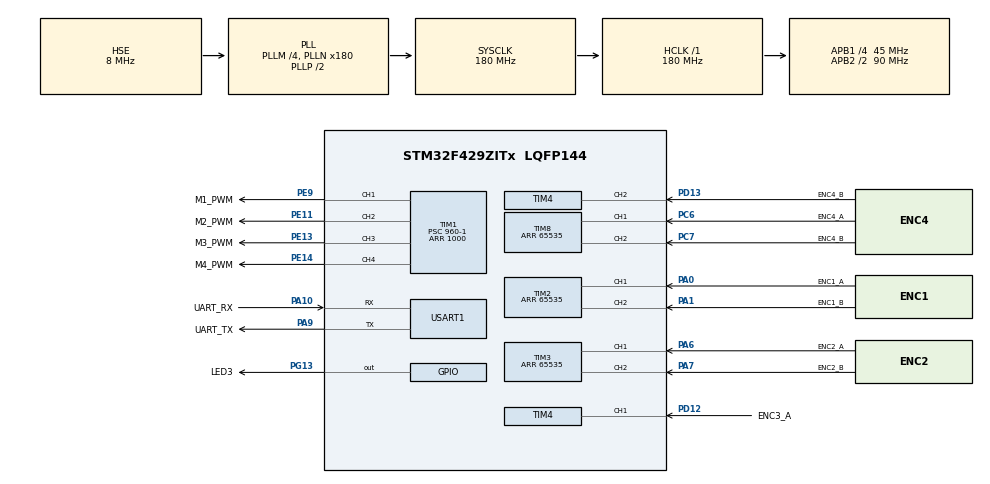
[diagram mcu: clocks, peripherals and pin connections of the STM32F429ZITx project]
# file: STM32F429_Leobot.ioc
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FREERTOS.HEAP_NUMBER=1
FREERTOS.INCLUDE_vTaskDelayUntil=1
FREERTOS.Mutexes01=rosPublishMutex,Dynamic,NULL
FREERTOS.Tasks01=defaultTask,0,128,StartDefaultTask,Default,NULL,Dynamic,NULL,NULL;LedBlinkTask,-3,128,LedBlinkTaskHandler,Default,NULL,Dynamic,NULL,NULL;EncoderTask,0,128,EncoderTaskHandler,Default,NULL,Dynamic,NULL,NULL;RosTask,0,128,RosTaskHandler,Default,NULL,Dynamic,NULL,NULL
FREERTOS.configMAX_PRIORITIES=4
Mcu.Family=STM32F4
Mcu.Name=STM32F429ZITx
Mcu.Package=LQFP144
NVIC.PriorityGroup=NVIC_PRIORITYGROUP_4
NVIC.TIM7_IRQn=true\:0\:0\:false\:false\:true\:false\:false
NVIC.TimeBase=TIM7_IRQn
NVIC.TimeBaseIP=TIM7
NVIC.USART1_IRQn=true\:5\:0\:false\:false\:true\:true\:true
PA0/WKUP.GPIO_Label=ENC1_A
PA0/WKUP.GPIO_PuPd=GPIO_PULLUP
PA0/WKUP.GPIO_Speed=GPIO_SPEED_FREQ_VERY_HIGH
PA0/WKUP.Signal=S_TIM2_CH1_ETR
PA1.GPIO_Label=ENC1_B
PA1.GPIO_PuPd=GPIO_PULLUP
PA1.GPIO_Speed=GPIO_SPEED_FREQ_VERY_HIGH
PA1.Signal=S_TIM2_CH2
PA10.GPIO_Label=UART_RX
PA10.Mode=Asynchronous
PA10.Signal=USART1_RX
PA13.Mode=Trace_Asynchronous_SW
PA13.Signal=SYS_JTMS-SWDIO
PA14.Mode=Trace_Asynchronous_SW
PA14.Signal=SYS_JTCK-SWCLK
PA6.GPIO_Label=ENC2_A
PA6.GPIO_PuPd=GPIO_PULLUP
PA6.GPIO_Speed=GPIO_SPEED_FREQ_VERY_HIGH
PA6.Signal=S_TIM3_CH1
PA7.GPIO_Label=ENC2_B
PA7.GPIO_PuPd=GPIO_PULLUP
PA7.GPIO_Speed=GPIO_SPEED_FREQ_VERY_HIGH
PA7.Signal=S_TIM3_CH2
PA9.GPIO_Label=UART_TX
PA9.Mode=Asynchronous
PA9.Signal=USART1_TX
PB3.Mode=Trace_Asynchronous_SW
PB3.Signal=SYS_JTDO-SWO
PC6.GPIO_Label=ENC4_A
PC6.GPIO_PuPd=GPIO_PULLUP
PC6.GPIO_Speed=GPIO_SPEED_FREQ_VERY_HIGH
PC6.Signal=S_TIM8_CH1
PC7.GPIO_Label=ENC4_B
PC7.GPIO_PuPd=GPIO_PULLUP
PC7.GPIO_Speed=GPIO_SPEED_FREQ_VERY_HIGH
PC7.Signal=S_TIM8_CH2
PD12.GPIO_Label=ENC3_A
PD12.GPIO_Speed=GPIO_SPEED_FREQ_VERY_HIGH
PD12.Signal=S_TIM4_CH1
PD13.GPIO_Label=ENC4_B
PD13.GPIO_Speed=GPIO_SPEED_FREQ_VERY_HIGH
PD13.Signal=S_TIM4_CH2
PE11.GPIO_Label=M2_PWM
PE11.GPIO_Speed=GPIO_SPEED_FREQ_VERY_HIGH
PE11.Signal=S_TIM1_CH2
PE13.GPIO_Label=M3_PWM
PE13.GPIO_Speed=GPIO_SPEED_FREQ_VERY_HIGH
PE13.Signal=S_TIM1_CH3
PE14.GPIO_Label=M4_PWM
PE14.GPIO_Speed=GPIO_SPEED_FREQ_VERY_HIGH
PE14.Signal=S_TIM1_CH4
PE9.GPIO_Label=M1_PWM
PE9.GPIO_Speed=GPIO_SPEED_FREQ_VERY_HIGH
PE9.Signal=S_TIM1_CH1
PG13.GPIO_Label=LED3
PG13.GPIO_Speed=GPIO_SPEED_FREQ_VERY_HIGH
PG13.Signal=GPIO_Output
PH0/OSC_IN.Mode=HSE-External-Oscillator
PH0/OSC_IN.Signal=RCC_OSC_IN
PH1/OSC_OUT.Mode=HSE-External-Oscillator
PH1/OSC_OUT.Signal=RCC_OSC_OUT
ProjectManager.HeapSize=0x200
ProjectManager.StackSize=0x400
ProjectManager.TargetToolchain=TrueSTUDIO
RCC.48MHZClocksFreq_Value=90000000
RCC.AHBFreq_Value=180000000
RCC.APB1CLKDivider=RCC_HCLK_DIV4
RCC.APB1Freq_Value=45000000
RCC.APB1TimFreq_Value=90000000
RCC.APB2CLKDivider=RCC_HCLK_DIV2
RCC.APB2Freq_Value=90000000
RCC.APB2TimFreq_Value=180000000
RCC.CortexFreq_Value=180000000
RCC.HCLKFreq_Value=180000000
RCC.HSE_VALUE=8000000
RCC.HSI_VALUE=16000000
RCC.LSE_VALUE=32768
RCC.PLLM=4
RCC.PLLN=180
RCC.PLLSourceVirtual=RCC_PLLSOURCE_HSE
RCC.SYSCLKFreq_VALUE=180000000
RCC.SYSCLKSource=RCC_SYSCLKSOURCE_PLLCLK
RCC.VCOOutputFreq_Value=360000000
SH.S_TIM1_CH1.0=TIM1_CH1,PWM Generation1 CH1
SH.S_TIM1_CH2.0=TIM1_CH2,PWM Generation2 CH2
SH.S_TIM1_CH3.0=TIM1_CH3,PWM Generation3 CH3
SH.S_TIM1_CH4.0=TIM1_CH4,PWM Generation4 CH4
SH.S_TIM2_CH1_ETR.0=TIM2_CH1,Encoder_Interface
SH.S_TIM2_CH2.0=TIM2_CH2,Encoder_Interface
SH.S_TIM3_CH1.0=TIM3_CH1,Encoder_Interface
SH.S_TIM3_CH2.0=TIM3_CH2,Encoder_Interface
SH.S_TIM4_CH1.0=TIM4_CH1,Encoder_Interface
SH.S_TIM4_CH2.0=TIM4_CH2,Encoder_Interface
SH.S_TIM8_CH1.0=TIM8_CH1,Encoder_Interface
SH.S_TIM8_CH2.0=TIM8_CH2,Encoder_Interface
TIM1.Channel-PWM\ Generation1\ CH1=TIM_CHANNEL_1
TIM1.Channel-PWM\ Generation2\ CH2=TIM_CHANNEL_2
TIM1.Channel-PWM\ Generation3\ CH3=TIM_CHANNEL_3
TIM1.Channel-PWM\ Generation4\ CH4=TIM_CHANNEL_4
TIM1.Period=1000
TIM1.Prescaler=960-1
TIM2.EncoderMode=TIM_ENCODERMODE_TI12
TIM2.Period=65535
TIM3.EncoderMode=TIM_ENCODERMODE_TI12
TIM3.Period=65535
TIM4.EncoderMode=TIM_ENCODERMODE_TI12
TIM4.Period=65535
TIM8.EncoderMode=TIM_ENCODERMODE_TI12
TIM8.Period=65535
USART1.VirtualMode=VM_ASYNC
VP_FREERTOS_VS_ENABLE.Mode=Enabled
VP_SYS_VS_tim7.Mode=TIM7
board=custom

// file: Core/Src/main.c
/* USER CODE BEGIN Header */
/**
  ******************************************************************************
  * @file           : main.c
  * @brief          : Main program body
  ******************************************************************************
  * This notice applies to any and all portions of this file
  * that are not between comment pairs USER CODE BEGIN and
  * USER CODE END. Other portions of this file, whether
  * inserted by the user or by software development tools
  * are owned by their respective copyright owners.
  *
  * Copyright (c) 2018 STMicroelectronics International N.V.
  * All rights reserved.
  *
  * Redistribution and use in source and binary forms, with or without
  * modification, are permitted, provided that the following conditions are met:
  *
  * 1. Redistribution of source code must retain the above copyright notice,
  *    this list of conditions and the following disclaimer.
  * 2. Redistributions in binary form must reproduce the above copyright notice,
  *    this list of conditions and the following disclaimer in the documentation
  *    and/or other materials provided with the distribution.
  * 3. Neither the name of STMicroelectronics nor the names of other
  *    contributors to this software may be used to endorse or promote products
  *    derived from this software without specific written permission.
  * 4. This software, including modifications and/or derivative works of this
  *    software, must execute solely and exclusively on microcontroller or
  *    microprocessor devices manufactured by or for STMicroelectronics.
  * 5. Redistribution and use of this software other than as permitted under
  *    this license is void and will automatically terminate your rights under
  *    this license.
  *
  * THIS SOFTWARE IS PROVIDED BY STMICROELECTRONICS AND CONTRIBUTORS "AS IS"
  * AND ANY EXPRESS, IMPLIED OR STATUTORY WARRANTIES, INCLUDING, BUT NOT
  * LIMITED TO, THE IMPLIED WARRANTIES OF MERCHANTABILITY, FITNESS FOR A
  * PARTICULAR PURPOSE AND NON-INFRINGEMENT OF THIRD PARTY INTELLECTUAL PROPERTY
  * RIGHTS ARE DISCLAIMED TO THE FULLEST EXTENT PERMITTED BY LAW. IN NO EVENT
  * SHALL STMICROELECTRONICS OR CONTRIBUTORS BE LIABLE FOR ANY DIRECT, INDIRECT,
  * INCIDENTAL, SPECIAL, EXEMPLARY, OR CONSEQUENTIAL DAMAGES (INCLUDING, BUT NOT
  * LIMITED TO, PROCUREMENT OF SUBSTITUTE GOODS OR SERVICES; LOSS OF USE, DATA,
  * OR PROFITS; OR BUSINESS INTERRUPTION) HOWEVER CAUSED AND ON ANY THEORY OF
  * LIABILITY, WHETHER IN CONTRACT, STRICT LIABILITY, OR TORT (INCLUDING
  * NEGLIGENCE OR OTHERWISE) ARISING IN ANY WAY OUT OF THE USE OF THIS SOFTWARE,
  * EVEN IF ADVISED OF THE POSSIBILITY OF SUCH DAMAGE.
  *
  ******************************************************************************
  */
/* USER CODE END Header */

#include "main.h"
#include "cmsis_os.h"

TIM_HandleTypeDef htim1;
TIM_HandleTypeDef htim2;
TIM_HandleTypeDef htim3;
TIM_HandleTypeDef htim4;
TIM_HandleTypeDef htim8;

UART_HandleTypeDef huart1;

osThreadId defaultTaskHandle;
osThreadId LedBlinkTaskHandle;
osThreadId EncoderTaskHandle;

/* USER CODE BEGIN PV */

#define MOTORS_NUM 	 (4)
#define ENCODERS_NUM (4)

typedef struct {
	uint32_t direction;
	uint32_t speed;

} motor_t;

typedef struct {
	uint32_t direction;
	uint32_t speed;

} encoder_t;

typedef struct {
	encoder_t encoder;
	motor_t motor;
}motor_unit_t;

encoder_t encoder[ENCODERS_NUM] = {0};
motor_t motor[MOTORS_NUM] = {0};

/* USER CODE END PV */

void SystemClock_Config(void);
static void MX_GPIO_Init(void);
static void MX_TIM1_Init(void);
static void MX_TIM2_Init(void);
static void MX_TIM3_Init(void);
static void MX_TIM4_Init(void);
static void MX_USART1_UART_Init(void);
static void MX_TIM8_Init(void);
void StartDefaultTask(void const * argument);
void LedBlinkTaskHandler(void const * argument);
void EncoderTaskHandler(void const * argument);

int main(void)
{

  /* MCU Configuration--------------------------------------------------------*/

  /* Reset of all peripherals, Initializes the Flash interface and the Systick. */
  HAL_Init();

  /* Configure the system clock */
  SystemClock_Config();

  /* Initialize all configured peripherals */
  MX_GPIO_Init();
  MX_TIM1_Init();
  MX_TIM2_Init();
  MX_TIM3_Init();
  MX_TIM4_Init();
  MX_USART1_UART_Init();
  MX_TIM8_Init();
  /* USER CODE BEGIN 2 */
  // https://www.youtube.com/watch?v=Ql6klWiROik

  //HAL_TIM_PWM_Start(&htim1,TIM_CHANNEL_ALL);

  // FREQUENCY = 187.3 Hz
  // PWM_CH1 - PE9
  // PWM_CH2 - PE11
  // PWM_CH3 - PE13
  // PWM_CH4 - PE14
  // Init PWM

  // can be moved on the begining of pwm and encoder task function

  HAL_TIM_PWM_Start(&htim1, TIM_CHANNEL_1);
  HAL_TIM_PWM_Start(&htim1, TIM_CHANNEL_2);
  HAL_TIM_PWM_Start(&htim1, TIM_CHANNEL_3);
  HAL_TIM_PWM_Start(&htim1, TIM_CHANNEL_4);

  // test PMW
  __HAL_TIM_SET_COMPARE(&htim1, TIM_CHANNEL_1,  250); // 100 - 10%, 1000 - 100%
  __HAL_TIM_SET_COMPARE(&htim1, TIM_CHANNEL_2,  500);
  __HAL_TIM_SET_COMPARE(&htim1, TIM_CHANNEL_3,  750);
  __HAL_TIM_SET_COMPARE(&htim1, TIM_CHANNEL_4,  1000);

  // Init encoders
  HAL_TIM_Encoder_Start(&htim2, TIM_CHANNEL_ALL);
  HAL_TIM_Encoder_Start(&htim3, TIM_CHANNEL_ALL);
  HAL_TIM_Encoder_Start(&htim4, TIM_CHANNEL_ALL);
  HAL_TIM_Encoder_Start(&htim8, TIM_CHANNEL_ALL);

  /* USER CODE END 2 */

  /* Create the thread(s) */
  /* definition and creation of defaultTask */
  osThreadDef(defaultTask, StartDefaultTask, osPriorityNormal, 0, 128);
  defaultTaskHandle = osThreadCreate(osThread(defaultTask), NULL);

  /* definition and creation of LedBlinkTask */
  osThreadDef(LedBlinkTask, LedBlinkTaskHandler, osPriorityIdle, 0, 128);
  LedBlinkTaskHandle = osThreadCreate(osThread(LedBlinkTask), NULL);

  /* definition and creation of EncoderTask */
  osThreadDef(EncoderTask, EncoderTaskHandler, osPriorityLow, 0, 128);
  EncoderTaskHandle = osThreadCreate(osThread(EncoderTask), NULL);

  /* Start scheduler */
  osKernelStart();

  /* We should never get here as control is now taken by the scheduler */

  /* Infinite loop */
  while (1)
  {

  }
}

void SystemClock_Config(void)
{
  RCC_OscInitTypeDef RCC_OscInitStruct = {0};
  RCC_ClkInitTypeDef RCC_ClkInitStruct = {0};

  /**Configure the main internal regulator output voltage
  */
  __HAL_RCC_PWR_CLK_ENABLE();
  __HAL_PWR_VOLTAGESCALING_CONFIG(PWR_REGULATOR_VOLTAGE_SCALE1);
  /**Initializes the CPU, AHB and APB busses clocks
  */
  RCC_OscInitStruct.OscillatorType = RCC_OSCILLATORTYPE_HSE;
  RCC_OscInitStruct.HSEState = RCC_HSE_ON;
  RCC_OscInitStruct.PLL.PLLState = RCC_PLL_ON;
  RCC_OscInitStruct.PLL.PLLSource = RCC_PLLSOURCE_HSE;
  RCC_OscInitStruct.PLL.PLLM = 4;
  RCC_OscInitStruct.PLL.PLLN = 180;
  RCC_OscInitStruct.PLL.PLLP = RCC_PLLP_DIV2;
  RCC_OscInitStruct.PLL.PLLQ = 4;
  if (HAL_RCC_OscConfig(&RCC_OscInitStruct) != HAL_OK)
  {
    Error_Handler();
  }
  /**Activate the Over-Drive mode
  */
  if (HAL_PWREx_EnableOverDrive() != HAL_OK)
  {
    Error_Handler();
  }
  /**Initializes the CPU, AHB and APB busses clocks
  */
  RCC_ClkInitStruct.ClockType = RCC_CLOCKTYPE_HCLK|RCC_CLOCKTYPE_SYSCLK
                              |RCC_CLOCKTYPE_PCLK1|RCC_CLOCKTYPE_PCLK2;
  RCC_ClkInitStruct.SYSCLKSource = RCC_SYSCLKSOURCE_PLLCLK;
  RCC_ClkInitStruct.AHBCLKDivider = RCC_SYSCLK_DIV1;
  RCC_ClkInitStruct.APB1CLKDivider = RCC_HCLK_DIV4;
  RCC_ClkInitStruct.APB2CLKDivider = RCC_HCLK_DIV2;

  if (HAL_RCC_ClockConfig(&RCC_ClkInitStruct, FLASH_LATENCY_5) != HAL_OK)
  {
    Error_Handler();
  }
}

static void MX_TIM1_Init(void)
{

  TIM_MasterConfigTypeDef sMasterConfig = {0};
  TIM_OC_InitTypeDef sConfigOC = {0};
  TIM_BreakDeadTimeConfigTypeDef sBreakDeadTimeConfig = {0};

  htim1.Instance = TIM1;
  htim1.Init.Prescaler = 960-1;
  htim1.Init.CounterMode = TIM_COUNTERMODE_UP;
  htim1.Init.Period = 1000;
  htim1.Init.ClockDivision = TIM_CLOCKDIVISION_DIV1;
  htim1.Init.RepetitionCounter = 0;
  if (HAL_TIM_PWM_Init(&htim1) != HAL_OK)
  {
    Error_Handler();
  }
  sMasterConfig.MasterOutputTrigger = TIM_TRGO_RESET;
  sMasterConfig.MasterSlaveMode = TIM_MASTERSLAVEMODE_DISABLE;
  if (HAL_TIMEx_MasterConfigSynchronization(&htim1, &sMasterConfig) != HAL_OK)
  {
    Error_Handler();
  }
  sConfigOC.OCMode = TIM_OCMODE_PWM1;
  sConfigOC.Pulse = 0;
  sConfigOC.OCPolarity = TIM_OCPOLARITY_HIGH;
  sConfigOC.OCNPolarity = TIM_OCNPOLARITY_HIGH;
  sConfigOC.OCFastMode = TIM_OCFAST_DISABLE;
  sConfigOC.OCIdleState = TIM_OCIDLESTATE_RESET;
  sConfigOC.OCNIdleState = TIM_OCNIDLESTATE_RESET;
  if (HAL_TIM_PWM_ConfigChannel(&htim1, &sConfigOC, TIM_CHANNEL_1) != HAL_OK)
  {
    Error_Handler();
  }
  if (HAL_TIM_PWM_ConfigChannel(&htim1, &sConfigOC, TIM_CHANNEL_2) != HAL_OK)
  {
    Error_Handler();
  }
  if (HAL_TIM_PWM_ConfigChannel(&htim1, &sConfigOC, TIM_CHANNEL_3) != HAL_OK)
  {
    Error_Handler();
  }
  if (HAL_TIM_PWM_ConfigChannel(&htim1, &sConfigOC, TIM_CHANNEL_4) != HAL_OK)
  {
    Error_Handler();
  }
  sBreakDeadTimeConfig.OffStateRunMode = TIM_OSSR_DISABLE;
  sBreakDeadTimeConfig.OffStateIDLEMode = TIM_OSSI_DISABLE;
  sBreakDeadTimeConfig.LockLevel = TIM_LOCKLEVEL_OFF;
  sBreakDeadTimeConfig.DeadTime = 0;
  sBreakDeadTimeConfig.BreakState = TIM_BREAK_DISABLE;
  sBreakDeadTimeConfig.BreakPolarity = TIM_BREAKPOLARITY_HIGH;
  sBreakDeadTimeConfig.AutomaticOutput = TIM_AUTOMATICOUTPUT_DISABLE;
  if (HAL_TIMEx_ConfigBreakDeadTime(&htim1, &sBreakDeadTimeConfig) != HAL_OK)
  {
    Error_Handler();
  }
  HAL_TIM_MspPostInit(&htim1);

}

static void MX_TIM2_Init(void)
{

  TIM_Encoder_InitTypeDef sConfig = {0};
  TIM_MasterConfigTypeDef sMasterConfig = {0};

  htim2.Instance = TIM2;
  htim2.Init.Prescaler = 0;
  htim2.Init.CounterMode = TIM_COUNTERMODE_UP;
  htim2.Init.Period = 65535;
  htim2.Init.ClockDivision = TIM_CLOCKDIVISION_DIV1;
  sConfig.EncoderMode = TIM_ENCODERMODE_TI12;
  sConfig.IC1Polarity = TIM_ICPOLARITY_RISING;
  sConfig.IC1Selection = TIM_ICSELECTION_DIRECTTI;
  sConfig.IC1Prescaler = TIM_ICPSC_DIV1;
  sConfig.IC1Filter = 0;
  sConfig.IC2Polarity = TIM_ICPOLARITY_RISING;
  sConfig.IC2Selection = TIM_ICSELECTION_DIRECTTI;
  sConfig.IC2Prescaler = TIM_ICPSC_DIV1;
  sConfig.IC2Filter = 0;
  if (HAL_TIM_Encoder_Init(&htim2, &sConfig) != HAL_OK)
  {
    Error_Handler();
  }
  sMasterConfig.MasterOutputTrigger = TIM_TRGO_RESET;
  sMasterConfig.MasterSlaveMode = TIM_MASTERSLAVEMODE_DISABLE;
  if (HAL_TIMEx_MasterConfigSynchronization(&htim2, &sMasterConfig) != HAL_OK)
  {
    Error_Handler();
  }

}

static void MX_TIM3_Init(void)
{

  TIM_Encoder_InitTypeDef sConfig = {0};
  TIM_MasterConfigTypeDef sMasterConfig = {0};

  htim3.Instance = TIM3;
  htim3.Init.Prescaler = 0;
  htim3.Init.CounterMode = TIM_COUNTERMODE_UP;
  htim3.Init.Period = 65535;
  htim3.Init.ClockDivision = TIM_CLOCKDIVISION_DIV1;
  sConfig.EncoderMode = TIM_ENCODERMODE_TI12;
  sConfig.IC1Polarity = TIM_ICPOLARITY_RISING;
  sConfig.IC1Selection = TIM_ICSELECTION_DIRECTTI;
  sConfig.IC1Prescaler = TIM_ICPSC_DIV1;
  sConfig.IC1Filter = 0;
  sConfig.IC2Polarity = TIM_ICPOLARITY_RISING;
  sConfig.IC2Selection = TIM_ICSELECTION_DIRECTTI;
  sConfig.IC2Prescaler = TIM_ICPSC_DIV1;
  sConfig.IC2Filter = 0;
  if (HAL_TIM_Encoder_Init(&htim3, &sConfig) != HAL_OK)
  {
    Error_Handler();
  }
  sMasterConfig.MasterOutputTrigger = TIM_TRGO_RESET;
  sMasterConfig.MasterSlaveMode = TIM_MASTERSLAVEMODE_DISABLE;
  if (HAL_TIMEx_MasterConfigSynchronization(&htim3, &sMasterConfig) != HAL_OK)
  {
    Error_Handler();
  }

}

static void MX_TIM4_Init(void)
{

  TIM_Encoder_InitTypeDef sConfig = {0};
  TIM_MasterConfigTypeDef sMasterConfig = {0};

  htim4.Instance = TIM4;
  htim4.Init.Prescaler = 0;
  htim4.Init.CounterMode = TIM_COUNTERMODE_UP;
  htim4.Init.Period = 65535;
  htim4.Init.ClockDivision = TIM_CLOCKDIVISION_DIV1;
  sConfig.EncoderMode = TIM_ENCODERMODE_TI12;
  sConfig.IC1Polarity = TIM_ICPOLARITY_RISING;
  sConfig.IC1Selection = TIM_ICSELECTION_DIRECTTI;
  sConfig.IC1Prescaler = TIM_ICPSC_DIV1;
  sConfig.IC1Filter = 0;
  sConfig.IC2Polarity = TIM_ICPOLARITY_RISING;
  sConfig.IC2Selection = TIM_ICSELECTION_DIRECTTI;
  sConfig.IC2Prescaler = TIM_ICPSC_DIV1;
  sConfig.IC2Filter = 0;
  if (HAL_TIM_Encoder_Init(&htim4, &sConfig) != HAL_OK)
  {
    Error_Handler();
  }
  sMasterConfig.MasterOutputTrigger = TIM_TRGO_RESET;
  sMasterConfig.MasterSlaveMode = TIM_MASTERSLAVEMODE_DISABLE;
  if (HAL_TIMEx_MasterConfigSynchronization(&htim4, &sMasterConfig) != HAL_OK)
  {
    Error_Handler();
  }

}

static void MX_TIM8_Init(void)
{

  TIM_Encoder_InitTypeDef sConfig = {0};
  TIM_MasterConfigTypeDef sMasterConfig = {0};

  htim8.Instance = TIM8;
  htim8.Init.Prescaler = 0;
  htim8.Init.CounterMode = TIM_COUNTERMODE_UP;
  htim8.Init.Period = 65535;
  htim8.Init.ClockDivision = TIM_CLOCKDIVISION_DIV1;
  htim8.Init.RepetitionCounter = 0;
  sConfig.EncoderMode = TIM_ENCODERMODE_TI12;
  sConfig.IC1Polarity = TIM_ICPOLARITY_RISING;
  sConfig.IC1Selection = TIM_ICSELECTION_DIRECTTI;
  sConfig.IC1Prescaler = TIM_ICPSC_DIV1;
  sConfig.IC1Filter = 0;
  sConfig.IC2Polarity = TIM_ICPOLARITY_RISING;
  sConfig.IC2Selection = TIM_ICSELECTION_DIRECTTI;
  sConfig.IC2Prescaler = TIM_ICPSC_DIV1;
  sConfig.IC2Filter = 0;
  if (HAL_TIM_Encoder_Init(&htim8, &sConfig) != HAL_OK)
  {
    Error_Handler();
  }
  sMasterConfig.MasterOutputTrigger = TIM_TRGO_RESET;
  sMasterConfig.MasterSlaveMode = TIM_MASTERSLAVEMODE_DISABLE;
  if (HAL_TIMEx_MasterConfigSynchronization(&htim8, &sMasterConfig) != HAL_OK)
  {
    Error_Handler();
  }

}

static void MX_USART1_UART_Init(void)
{

  huart1.Instance = USART1;
  huart1.Init.BaudRate = 115200;
  huart1.Init.WordLength = UART_WORDLENGTH_8B;
  huart1.Init.StopBits = UART_STOPBITS_1;
  huart1.Init.Parity = UART_PARITY_NONE;
  huart1.Init.Mode = UART_MODE_TX_RX;
  huart1.Init.HwFlowCtl = UART_HWCONTROL_NONE;
  huart1.Init.OverSampling = UART_OVERSAMPLING_16;
  if (HAL_UART_Init(&huart1) != HAL_OK)
  {
    Error_Handler();
  }

}

static void MX_GPIO_Init(void)
{
  GPIO_InitTypeDef GPIO_InitStruct = {0};

  /* GPIO Ports Clock Enable */
  __HAL_RCC_GPIOH_CLK_ENABLE();
  __HAL_RCC_GPIOA_CLK_ENABLE();
  __HAL_RCC_GPIOE_CLK_ENABLE();
  __HAL_RCC_GPIOD_CLK_ENABLE();
  __HAL_RCC_GPIOC_CLK_ENABLE();
  __HAL_RCC_GPIOG_CLK_ENABLE();

  /*Configure GPIO pin Output Level */
  HAL_GPIO_WritePin(LED3_GPIO_Port, LED3_Pin, GPIO_PIN_RESET);

  /*Configure GPIO pin : LED3_Pin */
  GPIO_InitStruct.Pin = LED3_Pin;
  GPIO_InitStruct.Mode = GPIO_MODE_OUTPUT_PP;
  GPIO_InitStruct.Pull = GPIO_NOPULL;
  GPIO_InitStruct.Speed = GPIO_SPEED_FREQ_VERY_HIGH;
  HAL_GPIO_Init(LED3_GPIO_Port, &GPIO_InitStruct);

}

void StartDefaultTask(void const * argument)
{

  /* USER CODE BEGIN 5 */
  /* Infinite loop */
  for(;;)
  {
	  HAL_UART_Transmit_IT(&huart1, (uint8_t*)"hello\r\n", 7);
	  osDelay(1000);
  }
  /* USER CODE END 5 */
}

void LedBlinkTaskHandler(void const * argument)
{
  /* USER CODE BEGIN LedBlinkTaskHandler */
  /* Infinite loop */
  for(;;)
  {
	  HAL_GPIO_TogglePin(LED3_GPIO_Port, LED3_Pin);
	  osDelay(100);
  }
  /* USER CODE END LedBlinkTaskHandler */
}

void EncoderTaskHandler(void const * argument)
{
  /* USER CODE BEGIN EncoderTaskHandler */
	//https://github.com/alus96/STM32F407_Encoder/blob/master/Src/main.c
  /* Infinite loop */
  for(;;)
  {

	 /* make for cycle with array of pointers to timer functions */

	  encoder[0].direction = __HAL_TIM_IS_TIM_COUNTING_DOWN(&htim2);
	  encoder[1].direction = __HAL_TIM_IS_TIM_COUNTING_DOWN(&htim3);
	  encoder[2].direction = __HAL_TIM_IS_TIM_COUNTING_DOWN(&htim4);
	  encoder[3].direction = __HAL_TIM_IS_TIM_COUNTING_DOWN(&htim8);

	  /* only for debug, for real work should be added formula for speed calculation */
	  encoder[0].speed = __HAL_TIM_GET_COUNTER(&htim2);
	  encoder[1].speed = __HAL_TIM_GET_COUNTER(&htim3);
	  encoder[2].speed = __HAL_TIM_GET_COUNTER(&htim4);
	  encoder[3].speed = __HAL_TIM_GET_COUNTER(&htim8);

	  osDelay(100);
  }
  /* USER CODE END EncoderTaskHandler */
}

void HAL_TIM_PeriodElapsedCallback(TIM_HandleTypeDef *htim)
{
  if (htim->Instance == TIM7) {
    HAL_IncTick();
  }
}

void Error_Handler(void)
{
}

/************************ (C) COPYRIGHT STMicroelectronics *****END OF FILE****/

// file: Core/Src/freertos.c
/* USER CODE BEGIN Header */
/**
  ******************************************************************************
  * File Name          : freertos.c
  * Description        : Code for freertos applications
  ******************************************************************************
  * This notice applies to any and all portions of this file
  * that are not between comment pairs USER CODE BEGIN and
  * USER CODE END. Other portions of this file, whether
  * inserted by the user or by software development tools
  * are owned by their respective copyright owners.
  *
  * Copyright (c) 2018 STMicroelectronics International N.V.
  * All rights reserved.
  *
  * Redistribution and use in source and binary forms, with or without
  * modification, are permitted, provided that the following conditions are met:
  *
  * 1. Redistribution of source code must retain the above copyright notice,
  *    this list of conditions and the following disclaimer.
  * 2. Redistributions in binary form must reproduce the above copyright notice,
  *    this list of conditions and the following disclaimer in the documentation
  *    and/or other materials provided with the distribution.
  * 3. Neither the name of STMicroelectronics nor the names of other
  *    contributors to this software may be used to endorse or promote products
  *    derived from this software without specific written permission.
  * 4. This software, including modifications and/or derivative works of this
  *    software, must execute solely and exclusively on microcontroller or
  *    microprocessor devices manufactured by or for STMicroelectronics.
  * 5. Redistribution and use of this software other than as permitted under
  *    this license is void and will automatically terminate your rights under
  *    this license.
  *
  * THIS SOFTWARE IS PROVIDED BY STMICROELECTRONICS AND CONTRIBUTORS "AS IS"
  * AND ANY EXPRESS, IMPLIED OR STATUTORY WARRANTIES, INCLUDING, BUT NOT
  * LIMITED TO, THE IMPLIED WARRANTIES OF MERCHANTABILITY, FITNESS FOR A
  * PARTICULAR PURPOSE AND NON-INFRINGEMENT OF THIRD PARTY INTELLECTUAL PROPERTY
  * RIGHTS ARE DISCLAIMED TO THE FULLEST EXTENT PERMITTED BY LAW. IN NO EVENT
  * SHALL STMICROELECTRONICS OR CONTRIBUTORS BE LIABLE FOR ANY DIRECT, INDIRECT,
  * INCIDENTAL, SPECIAL, EXEMPLARY, OR CONSEQUENTIAL DAMAGES (INCLUDING, BUT NOT
  * LIMITED TO, PROCUREMENT OF SUBSTITUTE GOODS OR SERVICES; LOSS OF USE, DATA,
  * OR PROFITS; OR BUSINESS INTERRUPTION) HOWEVER CAUSED AND ON ANY THEORY OF
  * LIABILITY, WHETHER IN CONTRACT, STRICT LIABILITY, OR TORT (INCLUDING
  * NEGLIGENCE OR OTHERWISE) ARISING IN ANY WAY OUT OF THE USE OF THIS SOFTWARE,
  * EVEN IF ADVISED OF THE POSSIBILITY OF SUCH DAMAGE.
  *
  ******************************************************************************
  */
/* USER CODE END Header */

#include "FreeRTOS.h"
#include "task.h"
#include "main.h"
#include "cmsis_os.h"

/* USER CODE BEGIN Variables */
//static ros::NodeHandle nh;
/* USER CODE END Variables */
osThreadId defaultTaskHandle;
osThreadId LedBlinkTaskHandle;
osThreadId EncoderTaskHandle;
osThreadId RosTaskHandle;
osMutexId rosPublishMutexHandle;

/* USER CODE BEGIN FunctionPrototypes */
//void motor_cb(const std_msgs::UInt16& cmd_msg);
/* USER CODE END FunctionPrototypes */

void StartDefaultTask(void const * argument);
void LedBlinkTaskHandler(void const * argument);
void EncoderTaskHandler(void const * argument);
void RosTaskHandler(void const * argument);

void MX_FREERTOS_Init(void); /* (MISRA C 2004 rule 8.1) */

void MX_FREERTOS_Init(void) {

  /* Create the mutex(es) */
  /* definition and creation of rosPublishMutex */
  osMutexDef(rosPublishMutex);
  rosPublishMutexHandle = osMutexCreate(osMutex(rosPublishMutex));

  /* Create the thread(s) */
  /* definition and creation of defaultTask */
  osThreadDef(defaultTask, StartDefaultTask, osPriorityNormal, 0, 128);
  defaultTaskHandle = osThreadCreate(osThread(defaultTask), NULL);

  /* definition and creation of LedBlinkTask */
  osThreadDef(LedBlinkTask, LedBlinkTaskHandler, osPriorityIdle, 0, 128);
  LedBlinkTaskHandle = osThreadCreate(osThread(LedBlinkTask), NULL);

  /* definition and creation of EncoderTask */
  osThreadDef(EncoderTask, EncoderTaskHandler, osPriorityNormal, 0, 128);
  EncoderTaskHandle = osThreadCreate(osThread(EncoderTask), NULL);

  /* definition and creation of RosTask */
  osThreadDef(RosTask, RosTaskHandler, osPriorityNormal, 0, 128);
  RosTaskHandle = osThreadCreate(osThread(RosTask), NULL);

}

void StartDefaultTask(void const * argument)
{

  for(;;)
  {
    osDelay(1);
  }
}

void LedBlinkTaskHandler(void const * argument)
{
  /* USER CODE BEGIN LedBlinkTaskHandler */
  /* Infinite loop */
  for(;;)
  {
	  HAL_GPIO_TogglePin(LED3_GPIO_Port, LED3_Pin);
	  ITM_SendChar(28);
	  osDelay(500);
  }
  /* USER CODE END LedBlinkTaskHandler */
}

void EncoderTaskHandler(void const * argument)
{
  /* USER CODE BEGIN EncoderTaskHandler */
	static uint32_t testcnt;

	//MX_TIM2_Init();
	//MX_TIM3_Init();
	//MX_TIM4_Init();
	//MX_TIM8_Init();
  /* Infinite loop */
  for(;;)
  {
	  /* make for cycle with array of pointers to timer functions */
/*
	  encoder[0].direction = __HAL_TIM_IS_TIM_COUNTING_DOWN(&htim2);
	  encoder[1].direction = __HAL_TIM_IS_TIM_COUNTING_DOWN(&htim3);
	  encoder[2].direction = __HAL_TIM_IS_TIM_COUNTING_DOWN(&htim4);
	  encoder[3].direction = __HAL_TIM_IS_TIM_COUNTING_DOWN(&htim8);
*/
	  /* only for debug, for real work should be added formula for speed calculation */
/*
	  encoder[0].speed = __HAL_TIM_GET_COUNTER(&htim2);
	  encoder[1].speed = __HAL_TIM_GET_COUNTER(&htim3);
	  encoder[2].speed = __HAL_TIM_GET_COUNTER(&htim4);
	  encoder[3].speed = __HAL_TIM_GET_COUNTER(&htim8);
*/
	  testcnt++;
	  osDelay(100);
  }
  /* USER CODE END EncoderTaskHandler */
}

void RosTaskHandler(void const * argument)
{
  /* USER CODE BEGIN RosTaskHandler */
  //ros::Subscriber<std_msgs::UInt16> sub("motor", motor_cb);

  /* Infinite loop */
  for(;;)
  {
	  //nh_->spinOnce();
	  osDelay(1);
  }
  /* USER CODE END RosTaskHandler */
}

/* USER CODE BEGIN Application */
/*
static void motor_cb(const std_msgs::UInt16& cmd_msg)
 {
  	//cmd_msg.data should be in range 0 - 100

 	 //str_msg.data = hello;
 	 //chatter.publish( &str_msg );
 }
*/
/* USER CODE END Application */

/************************ (C) COPYRIGHT STMicroelectronics *****END OF FILE****/
